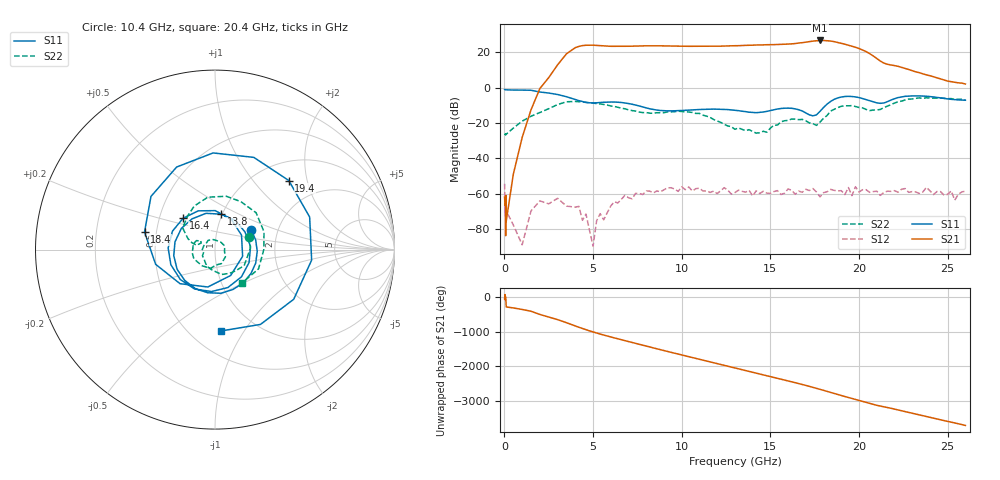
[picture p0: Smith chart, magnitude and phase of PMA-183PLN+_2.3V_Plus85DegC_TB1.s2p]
!Keysight Technologies,N5244A,MY52442000,A.10.40.14
!Date: Thursday, July 16, 2020 11:13:50
!Correction: S11(Full 2 Port(1,2))
!S21(Full 2 Port(1,2))
!S12(Full 2 Port(1,2))
!S22(Full 2 Port(1,2))
!S2P File: Measurements: S11, S21, S12, S22:
# Hz S  dB  R 50
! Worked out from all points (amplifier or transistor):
!   128 points, 10 MHz to 26 GHz, reference 50 ohm
!   highest |S21| = 26.6 dB at 17.8 GHz (marker M1)
!   |S21| within 3 dB of that: 12.94 GHz to 19.52 GHz (6.58 GHz wide, 40.5 % of centre)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
!   unconditionally stable (mu >= 1): start of sweep to end of sweep
!   at 4.8 GHz: K = 260.11, MAG = 25.2 dB, |S12| = -80.8 dB
!   at 13.4 GHz: K = 26.61, MAG = 24.0 dB, |S12| = -58.7 dB
!   at 26 GHz: K = 220.41, MAG = 3.9 dB, |S12| = -58.6 dB
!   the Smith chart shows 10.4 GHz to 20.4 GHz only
!   S11 on the Smith chart (normalised r, x): 10.4 GHz: 1.45, +0.34; 13.8 GHz: 0.99, +0.41; 16.4 GHz: 0.66, +0.25; 18.4 GHz: 0.43, +0.10; 19.4 GHz: 1.38, +1.56; 20.4 GHz: 0.70, -0.80
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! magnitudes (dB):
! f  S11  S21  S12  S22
! 10 MHz  -1.1  -61.9  -54.4  -26.1
! 30 MHz  -1.3  -66.6  -70.9  -26.1
! 60 MHz  -1.3  -66.2  -67.9  -26.7
! 70 MHz  -1.3  -83.8  -63.3  -26.5
! 80 MHz  -1.3  -64.9  -71.9  -26.7
! 90 MHz  -1.3  -61.1  -61.7  -26.3
! 100 MHz  -1.3  -75.7  -69.7  -26.4
! 500 MHz  -1.4  -49.1  -77.7  -23.0
! 2 GHz  -2.5  -0.6  -64.1  -14.1
! 4.4 GHz  -7.9  23.7  -75.0  -8.2
! 8.8 GHz  -13.0  23.6  -59.0  -14.2
! 10.4 GHz  -12.8  23.3  -56.3  -13.8
! 13.2 GHz  -13.1  23.7  -58.1  -22.9
! 13.8 GHz  -14.0  23.9  -58.1  -23.8
! 16.4 GHz  -12.1  24.9  -60.4  -17.8
! 17.4 GHz  -16.0  26.2  -57.1  -20.4
! 17.8 GHz  -13.5  26.6  -61.8  -19.6
! 18.4 GHz  -7.9  26.3  -57.6  -13.3
! 19.4 GHz  -5.0  23.9  -56.6  -10.4
! 20.4 GHz  -6.8  20.3  -57.8  -12.4
! 21.8 GHz  -7.1  12.7  -58.7  -9.7
! 26 GHz  -7.2  2.0  -58.6  -7.0
